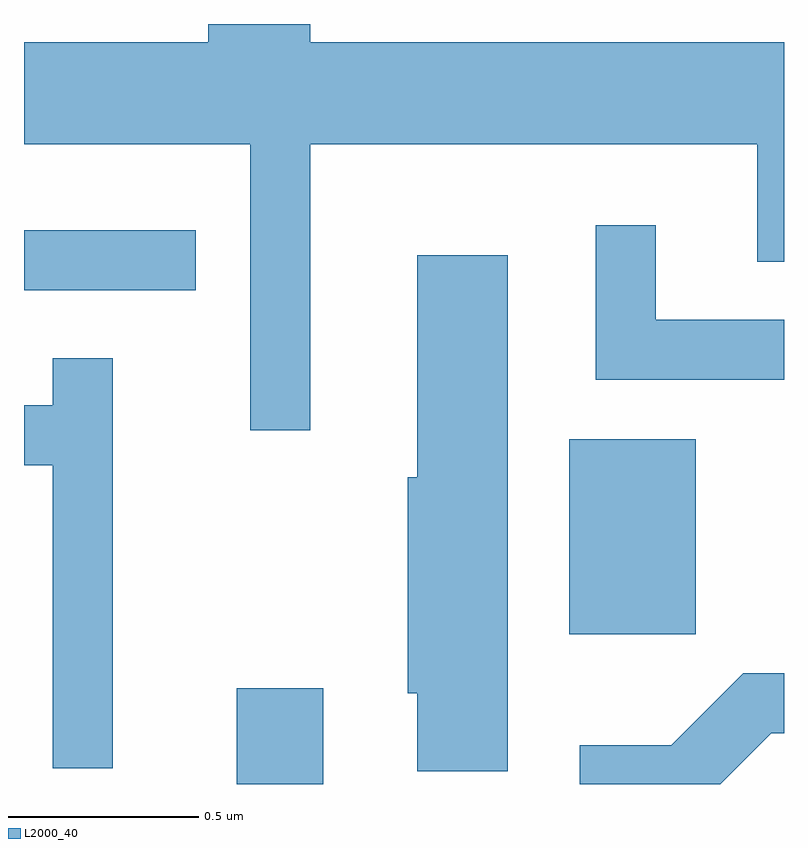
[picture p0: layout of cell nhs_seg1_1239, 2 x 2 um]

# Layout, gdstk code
import gdstk
lib = gdstk.Library(unit=1e-6, precision=1e-09)
def R(c, l, rs):  # rectangles x0, y0, x1, y1
    for r in rs: c.add(gdstk.rectangle(r[:2], r[2:], *l))
def P(c, l, *ps):  # polygons
    for p in ps: c.add(gdstk.Polygon(p, *l))
L2000_40 = (2000, 40)

nhs_seg1_1239 = lib.new_cell('nhs_seg1_1239')
R(nhs_seg1_1239, L2000_40, [(195.171,855.712,195.399,855.964), (196.046,856.106,196.379,856.619), (194.611,857.011,195.063,857.169)])
P(nhs_seg1_1239, L2000_40, [(195.364,857.396),(196.541,857.396),(196.541,857.086),(196.611,857.086),(196.611,857.664),(195.364,857.664),(195.364,857.712),(195.096,857.712),(195.096,857.664),(194.611,857.664),(194.611,857.396),(195.206,857.396),(195.206,856.643),(195.364,856.643)],
  [(196.611,856.934),(196.274,856.934),(196.274,857.183),(196.116,857.183),(196.116,856.776),(196.611,856.776)],
  [(195.884,857.104),(195.646,857.104),(195.646,856.519),(195.621,856.519),(195.621,855.951),(195.646,855.951),(195.646,855.746),(195.884,855.746)],
  [(194.844,856.833),(194.686,856.833),(194.686,856.709),(194.611,856.709),(194.611,856.551),(194.686,856.551),(194.686,855.753),(194.844,855.753)],
  [(196.577,855.846),(196.611,855.846),(196.611,856.004),(196.504,856.004),(196.314,855.814),(196.073,855.814),(196.073,855.712),(196.443,855.712)])

lib.write_gds('nhs_seg1_1239.gds')
